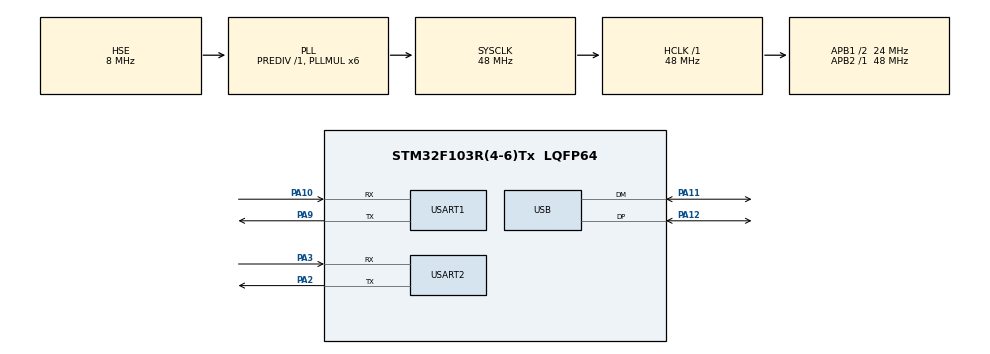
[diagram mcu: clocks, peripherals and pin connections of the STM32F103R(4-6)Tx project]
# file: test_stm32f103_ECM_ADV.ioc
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Mcu.Family=STM32F1
Mcu.Name=STM32F103R(4-6)Tx
Mcu.Package=LQFP64
NVIC.PriorityGroup=NVIC_PRIORITYGROUP_4
NVIC.USART2_IRQn=true\:0\:0\:false\:false\:true\:true
NVIC.USB_HP_CAN1_TX_IRQn=true\:0\:0\:false\:false\:true\:true
NVIC.USB_LP_CAN1_RX0_IRQn=true\:0\:0\:false\:false\:true\:false
PA10.Mode=Asynchronous
PA10.Signal=USART1_RX
PA11.Mode=Device
PA11.Signal=USB_DM
PA12.Mode=Device
PA12.Signal=USB_DP
PA2.Mode=Asynchronous
PA2.Signal=USART2_TX
PA3.Mode=Asynchronous
PA3.Signal=USART2_RX
PA9.Mode=Asynchronous
PA9.Signal=USART1_TX
PD0-OSC_IN.Mode=HSE-External-Oscillator
PD0-OSC_IN.Signal=RCC_OSC_IN
PD1-OSC_OUT.Mode=HSE-External-Oscillator
PD1-OSC_OUT.Signal=RCC_OSC_OUT
ProjectManager.HeapSize=0x200
ProjectManager.StackSize=0x400
ProjectManager.TargetToolchain=SW4STM32
RCC.AHBFreq_Value=48000000
RCC.APB1CLKDivider=RCC_HCLK_DIV2
RCC.APB1Freq_Value=24000000
RCC.APB1TimFreq_Value=48000000
RCC.APB2Freq_Value=48000000
RCC.APB2TimFreq_Value=48000000
RCC.HCLKFreq_Value=48000000
RCC.PLLMUL=RCC_PLL_MUL6
RCC.SYSCLKFreq_VALUE=48000000
RCC.SYSCLKSource=RCC_SYSCLKSOURCE_PLLCLK
RCC.USBFreq_Value=48000000
USART1.VirtualMode=VM_ASYNC
USART2.VirtualMode=VM_ASYNC
USB_DEVICE.CLASS_NAME_FS=CDC
USB_DEVICE.VirtualMode=Cdc
USB_DEVICE.VirtualModeFS=Cdc_FS
VP_SYS_VS_ND.Mode=No_Debug
VP_USB_DEVICE_VS_USB_DEVICE_CDC_FS.Mode=CDC_FS
board=custom

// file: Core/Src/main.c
/**
 ******************************************************************************
 * @file           : main.c
 * @brief          : Main program body
 ******************************************************************************
 * This notice applies to any and all portions of this file
 * that are not between comment pairs USER CODE BEGIN and
 * USER CODE END. Other portions of this file, whether
 * inserted by the user or by software development tools
 * are owned by their respective copyright owners.
 *
 * Copyright (c) 2018 STMicroelectronics International N.V.
 * All rights reserved.
 *
 * Redistribution and use in source and binary forms, with or without
 * modification, are permitted, provided that the following conditions are met:
 *
 * 1. Redistribution of source code must retain the above copyright notice,
 *    this list of conditions and the following disclaimer.
 * 2. Redistributions in binary form must reproduce the above copyright notice,
 *    this list of conditions and the following disclaimer in the documentation
 *    and/or other materials provided with the distribution.
 * 3. Neither the name of STMicroelectronics nor the names of other
 *    contributors to this software may be used to endorse or promote products
 *    derived from this software without specific written permission.
 * 4. This software, including modifications and/or derivative works of this
 *    software, must execute solely and exclusively on microcontroller or
 *    microprocessor devices manufactured by or for STMicroelectronics.
 * 5. Redistribution and use of this software other than as permitted under
 *    this license is void and will automatically terminate your rights under
 *    this license.
 *
 * THIS SOFTWARE IS PROVIDED BY STMICROELECTRONICS AND CONTRIBUTORS "AS IS"
 * AND ANY EXPRESS, IMPLIED OR STATUTORY WARRANTIES, INCLUDING, BUT NOT
 * LIMITED TO, THE IMPLIED WARRANTIES OF MERCHANTABILITY, FITNESS FOR A
 * PARTICULAR PURPOSE AND NON-INFRINGEMENT OF THIRD PARTY INTELLECTUAL PROPERTY
 * RIGHTS ARE DISCLAIMED TO THE FULLEST EXTENT PERMITTED BY LAW. IN NO EVENT
 * SHALL STMICROELECTRONICS OR CONTRIBUTORS BE LIABLE FOR ANY DIRECT, INDIRECT,
 * INCIDENTAL, SPECIAL, EXEMPLARY, OR CONSEQUENTIAL DAMAGES (INCLUDING, BUT NOT
 * LIMITED TO, PROCUREMENT OF SUBSTITUTE GOODS OR SERVICES; LOSS OF USE, DATA,
 * OR PROFITS; OR BUSINESS INTERRUPTION) HOWEVER CAUSED AND ON ANY THEORY OF
 * LIABILITY, WHETHER IN CONTRACT, STRICT LIABILITY, OR TORT (INCLUDING
 * NEGLIGENCE OR OTHERWISE) ARISING IN ANY WAY OUT OF THE USE OF THIS SOFTWARE,
 * EVEN IF ADVISED OF THE POSSIBILITY OF SUCH DAMAGE.
 *
 ******************************************************************************
 */
#include "main.h"
#include "stm32f1xx_hal.h"
#include "usb_device.h"
#include "usbd_cdc.h"
#include "usbd_cdc_if.h"
#include "uart.h"
#include <stdio.h>

//UART_HandleTypeDef huart1;
/* USER CODE BEGIN PV */
/* Private variables ---------------------------------------------------------*/
CRC_HandleTypeDef hcrc;

/* USER CODE END PV */

void SystemClock_Config(void);
static void MX_GPIO_Init(void);
static void MX_CRC_Init(void);

//static void MX_USART1_UART_Init(void);

void HAL_UART_TxCpltCallback(UART_HandleTypeDef *huart);
void HAL_UART_RxCpltCallback(UART_HandleTypeDef *huart);
void HAL_UART_ErrorCallback(UART_HandleTypeDef *huart);
/* USER CODE BEGIN PFP */
/* Private function prototypes -----------------------------------------------*/

/* USER CODE END PFP */

/* USER CODE BEGIN 0 */
//#define HEADER_LENGHT (1<<4)
#define DATA_LENGHT 512
#define TOKEN_START 0xFE456688

enum RxState {
	Search, Get_Data
};

volatile uint8_t DataRx[DATA_LENGHT];
volatile uint32_t DataLenght;
volatile uint8_t DataRxRdy;
volatile uint8_t HeaderRx[HEADER_LENGHT];
volatile uint8_t iHeaderRx;
volatile uint8_t RxTokenRdy;
volatile uint32_t RxTokenSec;
volatile enum RxState rx_state;

//uint8_t DataTx[DATA_LENGHT];
//uint8_t HeaderTx[HEADER_LENGHT];
volatile uint8_t flagTx;
volatile uint8_t flagRx;
/* USER CODE END 0 */

int main(void) {

	/* MCU Configuration----------------------------------------------------------*/

	/* Reset of all peripherals, Initializes the Flash interface and the Systick. */
	HAL_Init();

	/* Configure the system clock */
	SystemClock_Config();

	/* Initialize all configured peripherals */
	MX_GPIO_Init();
	MX_USART1_UART_Init();
	MX_CRC_Init();
	MX_USB_DEVICE_Init();
	MX_USART2_UART_Init();
	/* USER CODE BEGIN 2 */
	printf("Start of main loop\n\r");
	/* USER CODE END 2 */

	while (hUsbDeviceFS.dev_state != USBD_STATE_CONFIGURED)
		;

	uint8_t result = CDC_Notify_NetworkConnection(0);
	if (result != USBD_OK)
		printf("failed to notify network disconnection\n\r");
	else
		printf("notification disconnection ok\n\r");

	HAL_Delay(5000);
	result = CDC_Notify_NetworkConnection(1);
	if (result != USBD_OK)
		printf("failed to notify network connection\n\r");
	else
		printf("notification connection ok \n\r");

	//CDC_EnableReceiveData_FS();
	//MX_LWIP_Init();
	//USBD_CDC_Notify(&hUsbDeviceFS);
	/* Infinite loop */
	/* USER CODE BEGIN WHILE */

	HAL_UART_Receive_IT(&huart2, HeaderRx,
	HEADER_LENGHT);
	rx_state = Search;
	iHeaderRx = 0;
	DataRxRdy = 0;
	RxTokenRdy = 0;
	RxTokenSec = 0;
	uint32_t txHeaderSec = 0;

	HAL_StatusTypeDef UartResult;
	uint8_t UsbResult;
	while (1) {

		/* USER CODE END WHILE */
		if (RxTokenRdy == 1) {
			RxTokenRdy = 0;
			printf("Token n: %lu\n", RxTokenSec);
		}
		if (DataRxRdy == 1) {
			DataRxRdy = 0;
			printf("uart data recv\n");
		}
		if (flagTx == 1) {
			printf("-Tx ok\n");
			flagTx = 0;
		}
		if (flagRx == 1) {
			printf("-Rx occur\n");
			flagRx = 0;
		}
		if (flagRx == 2) {
			printf("-Rx header data len: %lu\n", DataLenght);
			flagRx = 0;
		}
		if (flagRx == 3) {
			printf("-Rx Token start\n");
			flagRx = 0;
		}
		if (flagRx == 4) {
			printf("Rx no token\n");
			flagRx = 0;
		}
		/* USER CODE BEGIN 3 */
		if (DataUsbRecv == 1) { /* se ha recibido un paquete por usb */
			/* forming Header*/
			*((uint32_t *) UserRxBufferFS) = TOKEN_START;
			((uint32_t *) UserRxBufferFS)[1] = txHeaderSec++; //numero corelativo del paquete de datos
			((uint32_t *) UserRxBufferFS)[2] = (uint32_t) LengthDataUsbRecv;
			((uint32_t *) UserRxBufferFS)[3] = HAL_CRC_Calculate(&hcrc,
					(uint32_t *) UserRxBufferFS, 3);
			//HAL_UART_Transmit_IT(&huart2, DataTx, HEADER_LENGHT + n);
			flagTx = 0;
			UartResult = HAL_UART_Transmit_IT(&huart2, UserRxBufferFS,
					LengthDataUsbRecv + HEADER_LENGHT);
			DataUsbRecv = 0;
		}
		if (DataUartRecv == 1) {
			printf("tx usb data\n\r");
			UsbResult = CDC_Transmit_FS(UserTxBufferFS, DataLenght);
			DataUartRecv = 0;
		}

	}
	/* USER CODE END 3 */

}

void HAL_UART_TxCpltCallback(UART_HandleTypeDef *huart) {
	if (huart == &huart2) {
		//printf("uart tx completed\n\r");
		CDC_EnableReceiveData_FS();
	}
}

void HAL_UART_RxCpltCallback(UART_HandleTypeDef *huart) {
	uint8_t buf[HEADER_LENGHT];
	uint8_t token[4];
	uint32_t crc;
	uint8_t idx;

	if (huart == &huart2) {
		flagRx = 1;
		switch (rx_state) {
		case Search:
			iHeaderRx = 0x0F & ((huart->RxXferSize) + iHeaderRx); //indice del byte consecutivo al ultimo byte recibido

			idx = 0x0F & (iHeaderRx - HEADER_LENGHT); //indice al primer byte de la ventana de header

			for (int i = 0; i < 4; i++) { //obtencion del token en la ventana
				token[i] = HeaderRx[idx];
				idx = 0x0F & (idx + 1);
			}
			//printf("tkn %lx, idx: %u\n",*((uint32_t *) token), idx);

			if (*((uint32_t *) token) == TOKEN_START) {
				//printf("token ok\n");
				flagRx = 3;
				*((uint32_t *) buf) = *((uint32_t *) token);
				for (int i = 4; i < HEADER_LENGHT; i++) {
					buf[i] = HeaderRx[idx];
					idx = 0x0F & (idx + 1);
				}
				//printf("token sec: %lu\n",((uint32_t *) buf)[1]);
				//printf("len: %lu\n",((uint32_t *) buf)[2]);
				crc = HAL_CRC_Calculate(&hcrc, (uint32_t *) buf, 3);
				if (crc == ((uint32_t *) buf)[3]) { //efectivamente se ha recibido una cabecera
					//printf("CRC OK\n");
					flagRx = 2;
					DataLenght = ((uint32_t *) buf)[2];
					HAL_UART_Receive_IT(&huart2, UserTxBufferFS,
							(uint16_t) ((uint32_t *) buf)[2]); // recibe los datos
					RxTokenSec = ((uint32_t *) buf)[1];
					RxTokenRdy = 1;
					rx_state = Get_Data;
				} else {
					HAL_UART_Receive_IT(&huart2, &HeaderRx[iHeaderRx], 1); // recibe un byte mas en la ventana
				}

			} else {
				flagRx = 4;
				HAL_UART_Receive_IT(&huart2, &HeaderRx[iHeaderRx], 1); // recibe un byte mas en la ventana
			}
			//HAL_Delay(10000);
			break;
		case Get_Data:
			/*for(int i=0; i<HEADER_LENGHT; i++)
			 HeaderRx[i] = 0;*/
			iHeaderRx = 0;
			DataUartRecv = 1;
			DataLenght = huart->RxXferSize;
			HAL_UART_Receive_IT(&huart2, HeaderRx, HEADER_LENGHT);
			DataRxRdy = 1;
			rx_state = Search;
			break;
		}

	}
}

/* CRC init function */
static void MX_CRC_Init(void) {

	hcrc.Instance = CRC;
	if (HAL_CRC_Init(&hcrc) != HAL_OK) {
		_Error_Handler(__FILE__, __LINE__);
	}

}

void HAL_UART_ErrorCallback(UART_HandleTypeDef *huart) {
	switch (huart->ErrorCode) {
	case HAL_UART_ERROR_NONE:
		printf("HAL_UART_ERROR_NONE\n\r");
		break;
	case HAL_UART_ERROR_PE:
		printf("error HAL_UART_ERROR_PE\n\r");
		break;
	case HAL_UART_ERROR_NE:
		printf("error HAL_UART_ERROR_NE\n\r");
		break;
	case HAL_UART_ERROR_FE:
		printf("error HAL_UART_ERROR_FE\n\r");
		break;
	case HAL_UART_ERROR_ORE:
		printf("error HAL_UART_ERROR_ORE\n\r");
		break;
	case HAL_UART_ERROR_DMA:
		printf("HAL_UART_ERROR_DMA\n\r");
	}
}
void SystemClock_Config(void) {

	RCC_OscInitTypeDef RCC_OscInitStruct;
	RCC_ClkInitTypeDef RCC_ClkInitStruct;
	RCC_PeriphCLKInitTypeDef PeriphClkInit;

	/**Initializes the CPU, AHB and APB busses clocks
	 */
	RCC_OscInitStruct.OscillatorType = RCC_OSCILLATORTYPE_HSE;
	RCC_OscInitStruct.HSEState = RCC_HSE_ON;
	RCC_OscInitStruct.HSEPredivValue = RCC_HSE_PREDIV_DIV1;
	RCC_OscInitStruct.HSIState = RCC_HSI_ON;
	RCC_OscInitStruct.PLL.PLLState = RCC_PLL_ON;
	RCC_OscInitStruct.PLL.PLLSource = RCC_PLLSOURCE_HSE;
	RCC_OscInitStruct.PLL.PLLMUL = RCC_PLL_MUL6;
	if (HAL_RCC_OscConfig(&RCC_OscInitStruct) != HAL_OK) {
		_Error_Handler(__FILE__, __LINE__);
	}

	/**Initializes the CPU, AHB and APB busses clocks
	 */
	RCC_ClkInitStruct.ClockType = RCC_CLOCKTYPE_HCLK | RCC_CLOCKTYPE_SYSCLK
			| RCC_CLOCKTYPE_PCLK1 | RCC_CLOCKTYPE_PCLK2;
	RCC_ClkInitStruct.SYSCLKSource = RCC_SYSCLKSOURCE_PLLCLK;
	RCC_ClkInitStruct.AHBCLKDivider = RCC_SYSCLK_DIV1;
	RCC_ClkInitStruct.APB1CLKDivider = RCC_HCLK_DIV2;
	RCC_ClkInitStruct.APB2CLKDivider = RCC_HCLK_DIV1;

	if (HAL_RCC_ClockConfig(&RCC_ClkInitStruct, FLASH_LATENCY_1) != HAL_OK) {
		_Error_Handler(__FILE__, __LINE__);
	}

	PeriphClkInit.PeriphClockSelection = RCC_PERIPHCLK_USB;
	PeriphClkInit.UsbClockSelection = RCC_USBCLKSOURCE_PLL;
	if (HAL_RCCEx_PeriphCLKConfig(&PeriphClkInit) != HAL_OK) {
		_Error_Handler(__FILE__, __LINE__);
	}

	/**Configure the Systick interrupt time
	 */
	HAL_SYSTICK_Config(HAL_RCC_GetHCLKFreq() / 1000);

	/**Configure the Systick
	 */
	HAL_SYSTICK_CLKSourceConfig(SYSTICK_CLKSOURCE_HCLK);

	/* SysTick_IRQn interrupt configuration */
	HAL_NVIC_SetPriority(SysTick_IRQn, 0, 0);
}

/** Configure pins as
 * Analog
 * Input
 * Output
 * EVENT_OUT
 * EXTI
 */
static void MX_GPIO_Init(void) {

	/* GPIO Ports Clock Enable */
	__HAL_RCC_GPIOD_CLK_ENABLE()
	;
	__HAL_RCC_GPIOA_CLK_ENABLE()
	;

}

void _Error_Handler(char *file, int line) {
	while (1) {
	}
}

/************************ (C) COPYRIGHT STMicroelectronics *****END OF FILE****/
